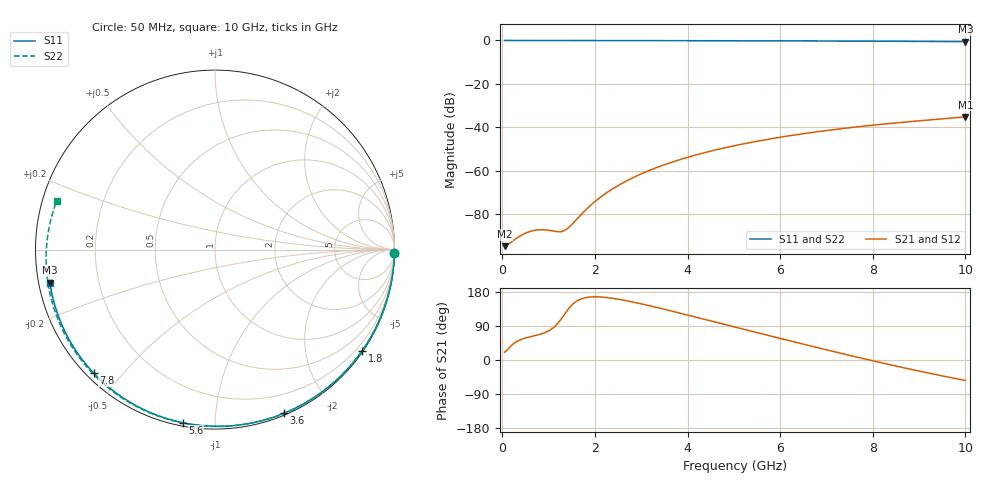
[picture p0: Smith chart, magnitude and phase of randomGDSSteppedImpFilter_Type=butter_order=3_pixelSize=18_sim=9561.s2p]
! freq	dB(S11)	phase(S11)	dB(S12)	phase(S12)
!  dB(S21)	phase(S21)	dB(S22)	phase(S22)
!S-par simulation data
#  GHz  S  DB  R 50
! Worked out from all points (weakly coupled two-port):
!   200 points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, 50 MHz to 10 GHz, reference 50 ohm
!   highest |S21| = -35.16 dB at 10 GHz (marker M1); lowest = -94.6 dB at 50 MHz (marker M2)
!   lowest |S11| = -0.6 dB at 10 GHz (marker M3), VSWR 31.22, Z = 1.62 - j4.97 ohm
!   |S11| at or under -10 dB: nowhere
!   |S22| runs from -0.7 to 0.0 dB; largest |S21 - S12| = 0
!   S11 on the Smith chart (normalised r, x): 50 MHz: open; 1.8 GHz: 0.03, -3.21; 3.6 GHz: 0.02, -1.51; 5.6 GHz: 0.02, -0.83; 7.8 GHz: 0.02, -0.42; 10 GHz: 0.03, -0.10
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0.05  -0.00 -1.0  -94.64 20.6  -94.64 20.6  -0.00 -1.1
0.45  -0.01 -8.8  -89.16 56.2  -89.16 56.2  -0.01 -9.8
0.85  -0.02 -16.5  -87.08 69.0  -87.08 69.0  -0.02 -18.5
1.7  -0.04 -32.7  -80.12 161.0  -80.12 161.0  -0.05 -36.5
1.75  -0.04 -33.6  -79.02 163.0  -79.02 163.0  -0.05 -37.6
1.8  -0.04 -34.6  -77.96 164.5  -77.96 164.5  -0.05 -38.6
2.1  -0.05 -40.2  -72.43 166.5  -72.43 166.5  -0.06 -44.9
2.5  -0.06 -47.5  -66.77 160.5  -66.77 160.5  -0.07 -53.1
2.9  -0.07 -54.8  -62.35 150.9  -62.35 150.9  -0.08 -61.2
3.4  -0.08 -63.7  -57.95 136.8  -57.95 136.8  -0.09 -71.1
3.6  -0.09 -67.2  -56.45 130.9  -56.45 130.9  -0.10 -74.9
4.3  -0.11 -79.2  -52.00 109.4  -52.00 109.4  -0.12 -88.3
5.05  -0.14 -91.6  -48.26 86.1  -48.26 86.1  -0.16 -102.3
5.6  -0.17 -100.5  -45.99 69.2  -45.99 69.2  -0.18 -112.3
6.15  -0.20 -109.2  -44.02 52.4  -44.02 52.4  -0.22 -122.2
6.7  -0.23 -117.7  -42.29 35.8  -42.29 35.8  -0.26 -132.0
7.25  -0.27 -126.2  -40.77 19.5  -40.77 19.5  -0.30 -141.9
7.8  -0.31 -134.6  -39.43 3.5  -39.43 3.5  -0.35 -152.0
8.35  -0.36 -142.9  -38.24 -11.9  -38.24 -11.9  -0.41 -162.3
9.2  -0.46 -156.0  -36.60 -34.4  -36.60 -34.4  -0.53 -179.3
9.6  -0.50 -162.3  -35.88 -44.4  -35.88 -44.4  -0.61 172.1
10  -0.56 -168.6  -35.16 -54.0  -35.16 -54.0  -0.70 162.9
